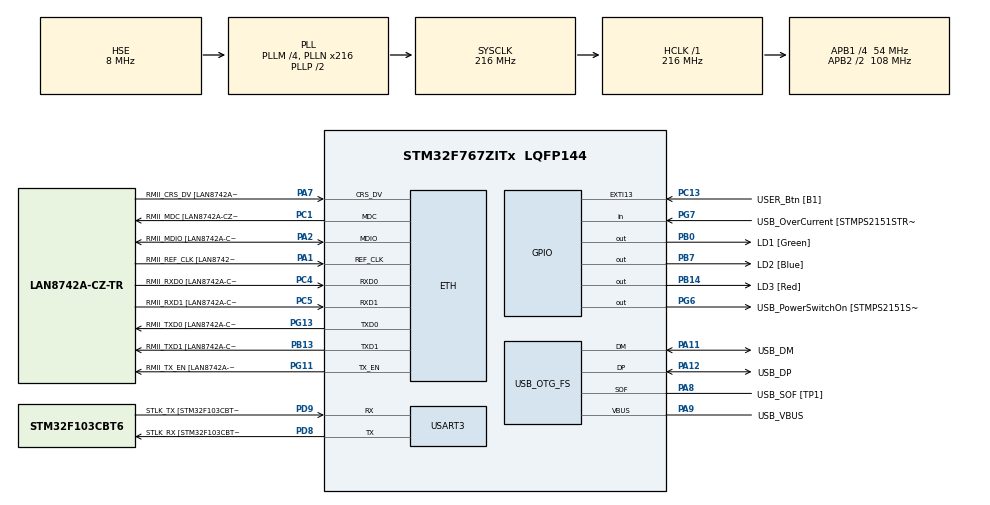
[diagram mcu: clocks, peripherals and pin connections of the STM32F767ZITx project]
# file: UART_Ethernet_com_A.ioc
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ETH.MediaInterface=HAL_ETH_RMII_MODE
ETH.PHY_Name=LAN8742A_PHY_ADDRESS
ETH.PHY_Value=0
ETH.PhyAddress=0
LWIP.BSP.number=1
LWIP.IP_ADDRESS=192.168.010.010
LWIP.LWIP_DHCP=0
LWIP.NETMASK_ADDRESS=255.255.255.000
LWIP.Version=v2.1.2_Cube
LWIP0.BSP.STBoard=false
LWIP0.BSP.api=BSP_COMPONENT_DRIVER
LWIP0.BSP.component=LAN8742
LWIP0.BSP.instance=LAN8742
LWIP0.BSP.name=Driver_PHY
LWIP0.BSP.semaphore=S_LAN8742
LWIP0.BSP.solution=LAN8742
Mcu.Family=STM32F7
Mcu.Name=STM32F767ZITx
Mcu.Package=LQFP144
NVIC.PriorityGroup=NVIC_PRIORITYGROUP_4
PA1.GPIO_Label=RMII_REF_CLK [LAN8742A-CZ-TR_REFCLK0]
PA1.Mode=RMII
PA1.Signal=ETH_REF_CLK
PA10.GPIO_Label=USB_ID
PA10.Signal=USB_OTG_FS_ID
PA11.GPIO_Label=USB_DM
PA11.Mode=Device_Only
PA11.Signal=USB_OTG_FS_DM
PA12.GPIO_Label=USB_DP
PA12.Mode=Device_Only
PA12.Signal=USB_OTG_FS_DP
PA13.GPIO_Label=TMS
PA13.Mode=Serial_Wire
PA13.Signal=SYS_JTMS-SWDIO
PA14.GPIO_Label=TCK
PA14.Mode=Serial_Wire
PA14.Signal=SYS_JTCK-SWCLK
PA2.GPIO_Label=RMII_MDIO [LAN8742A-CZ-TR_MDIO]
PA2.Mode=RMII
PA2.Signal=ETH_MDIO
PA7.GPIO_Label=RMII_CRS_DV [LAN8742A-CZ-TR_CRS_DV]
PA7.Mode=RMII
PA7.Signal=ETH_CRS_DV
PA8.GPIO_Label=USB_SOF [TP1]
PA8.Mode=Activate_SOF_FS
PA8.Signal=USB_OTG_FS_SOF
PA9.GPIO_Label=USB_VBUS
PA9.Mode=Activate_VBUS
PA9.Signal=USB_OTG_FS_VBUS
PB0.GPIO_Label=LD1 [Green]
PB0.Signal=GPIO_Output
PB13.GPIO_Label=RMII_TXD1 [LAN8742A-CZ-TR_TXD1]
PB13.Mode=RMII
PB13.Signal=ETH_TXD1
PB14.GPIO_Label=LD3 [Red]
PB14.Signal=GPIO_Output
PB3.GPIO_Label=SWO
PB3.Signal=SYS_JTDO-SWO
PB7.GPIO_Label=LD2 [Blue]
PB7.Signal=GPIO_Output
PC1.GPIO_Label=RMII_MDC [LAN8742A-CZ-TR_MDC]
PC1.Mode=RMII
PC1.Signal=ETH_MDC
PC13.GPIO_Label=USER_Btn [B1]
PC13.Signal=GPXTI13
PC14/OSC32_IN.Mode=LSE-External-Oscillator
PC14/OSC32_IN.Signal=RCC_OSC32_IN
PC15/OSC32_OUT.Mode=LSE-External-Oscillator
PC15/OSC32_OUT.Signal=RCC_OSC32_OUT
PC4.GPIO_Label=RMII_RXD0 [LAN8742A-CZ-TR_RXD0]
PC4.Mode=RMII
PC4.Signal=ETH_RXD0
PC5.GPIO_Label=RMII_RXD1 [LAN8742A-CZ-TR_RXD1]
PC5.Mode=RMII
PC5.Signal=ETH_RXD1
PD8.GPIO_Label=STLK_RX [STM32F103CBT6_PA3]
PD8.Mode=Asynchronous
PD8.Signal=USART3_TX
PD9.GPIO_Label=STLK_TX [STM32F103CBT6_PA2]
PD9.Mode=Asynchronous
PD9.Signal=USART3_RX
PG11.GPIO_Label=RMII_TX_EN [LAN8742A-CZ-TR_TXEN]
PG11.Mode=RMII
PG11.Signal=ETH_TX_EN
PG13.GPIO_Label=RMII_TXD0 [LAN8742A-CZ-TR_TXD0]
PG13.Mode=RMII
PG13.Signal=ETH_TXD0
PG6.GPIO_Label=USB_PowerSwitchOn [STMPS2151STR_EN]
PG6.Signal=GPIO_Output
PG7.GPIO_Label=USB_OverCurrent [STMPS2151STR_FAULT]
PG7.Signal=GPIO_Input
PH0/OSC_IN.GPIO_Label=MCO [STM32F103CBT6_PA8]
PH0/OSC_IN.Mode=HSE-External-Clock-Source
PH0/OSC_IN.Signal=RCC_OSC_IN
PH1/OSC_OUT.Mode=HSE-External-Clock-Source
PH1/OSC_OUT.Signal=RCC_OSC_OUT
ProjectManager.HeapSize=0x200
ProjectManager.StackSize=0x400
ProjectManager.TargetToolchain=STM32CubeIDE
RCC.48MHZClocksFreq_Value=24000000
RCC.AHBFreq_Value=216000000
RCC.APB1CLKDivider=RCC_HCLK_DIV4
RCC.APB1Freq_Value=54000000
RCC.APB1TimFreq_Value=108000000
RCC.APB2CLKDivider=RCC_HCLK_DIV2
RCC.APB2Freq_Value=108000000
RCC.APB2TimFreq_Value=216000000
RCC.CortexFreq_Value=216000000
RCC.HCLKFreq_Value=216000000
RCC.HSE_VALUE=8000000
RCC.HSI_VALUE=16000000
RCC.PLLM=4
RCC.PLLMUL=RCC_PLL_MUL9
RCC.PLLN=216
RCC.PLLQ=9
RCC.PRESCALERUSB=RCC_USBCLKSOURCE_PLL_DIV1_5
RCC.SYSCLKFreq_VALUE=216000000
RCC.SYSCLKSource=RCC_SYSCLKSOURCE_PLLCLK
RCC.SYSCLKSourceVirtual=RCC_SYSCLKSOURCE_PLLCLK
RCC.USBFreq_Value=48000000
RCC.VCOOutputFreq_Value=432000000
USART3.VirtualMode-Asynchronous=VM_ASYNC
USB_OTG_FS.VirtualMode=Device_Only
VP_LWIP_VS_Enabled.Mode=Enabled
board=NUCLEO-F767ZI

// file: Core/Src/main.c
/* USER CODE BEGIN Header */
/**
  ******************************************************************************
  * @file           : main.c
  * @brief          : Main program body
  ******************************************************************************
  * @attention
  *
  * Copyright (c) 2025 STMicroelectronics.
  * All rights reserved.
  *
  * This software is licensed under terms that can be found in the LICENSE file
  * in the root directory of this software component.
  * If no LICENSE file comes with this software, it is provided AS-IS.
  *
  ******************************************************************************
  */
/* USER CODE END Header */
#include "main.h"
#include "lwip.h"

/* USER CODE BEGIN Includes */
#include <string.h>
#include "lwip/udp.h"
#include "lwip/pbuf.h"
#include "lwip/ip_addr.h"
/* USER CODE END Includes */

UART_HandleTypeDef huart3;

PCD_HandleTypeDef hpcd_USB_OTG_FS;

/* USER CODE BEGIN PV */
static struct udp_pcb *g_upcb;
static ip4_addr_t g_peer_ip;

#define UDP_PORT 5000
#define UART_RX_BUF_SZ 256

static uint8_t uart_ch;
static char uart_line[UART_RX_BUF_SZ];
static uint16_t uart_len = 0;
/* USER CODE END PV */

void SystemClock_Config(void);
static void MX_GPIO_Init(void);
static void MX_USART3_UART_Init(void);
static void MX_USB_OTG_FS_PCD_Init(void);

/* USER CODE BEGIN 0 */
static void udp_rx_cb(void *arg, struct udp_pcb *pcb, struct pbuf *p,
                      const ip_addr_t *addr, u16_t port)
{
  (void)arg; (void)pcb; (void)addr; (void)port;
  if (p == NULL) return;

  // Вывести payload в UART
  HAL_UART_Transmit(&huart3, (uint8_t*)p->payload, p->len, HAL_MAX_DELAY);
  HAL_UART_Transmit(&huart3, (uint8_t*)"\r\n", 2, HAL_MAX_DELAY);
  pbuf_free(p);
}

static void udp_bridge_init(void)
{
  g_upcb = udp_new();
  if (g_upcb == NULL) {
    const char *msg = "udp_new() failed\r\n";
    HAL_UART_Transmit(&huart3, (uint8_t*)msg, strlen(msg), HAL_MAX_DELAY);
    return;
  }

  // Слушаем UDP_PORT на своем IP (any)
  err_t e = udp_bind(g_upcb, IP_ADDR_ANY, UDP_PORT);
  if (e != ERR_OK) {
    const char *msg = "udp_bind() failed\r\n";
    HAL_UART_Transmit(&huart3, (uint8_t*)msg, strlen(msg), HAL_MAX_DELAY);
  }

  udp_recv(g_upcb, udp_rx_cb, NULL);

  // Board A = 192.168.10.10
  // Board B = 192.168.10.11
  IP4_ADDR(&g_peer_ip, 192, 168, 10, 11);   // board A -> board B
  //IP4_ADDR(&g_peer_ip, 192, 168, 10, 10);   // board B -> board A

  const char *msg = "UDP bridge ready\r\n";
  HAL_UART_Transmit(&huart3, (uint8_t*)msg, strlen(msg), HAL_MAX_DELAY);
}

static void udp_send_buf(const void *buf, uint16_t len)
{
  if (!g_upcb || len == 0) return;

  struct pbuf *p = pbuf_alloc(PBUF_TRANSPORT, len, PBUF_RAM);
  if (!p) return;

  memcpy(p->payload, buf, len);
  udp_sendto(g_upcb, p, (const ip_addr_t *)&g_peer_ip, UDP_PORT);
  pbuf_free(p);
}

/* USER CODE END 0 */

int main(void)
{

  /* MCU Configuration--------------------------------------------------------*/

  /* Reset of all peripherals, Initializes the Flash interface and the Systick. */
  HAL_Init();

  /* Configure the system clock */
  SystemClock_Config();

  /* Initialize all configured peripherals */
  MX_GPIO_Init();
  MX_USART3_UART_Init();
  MX_USB_OTG_FS_PCD_Init();
  MX_LWIP_Init();
  /* USER CODE BEGIN 2 */
  udp_bridge_init();
  /* USER CODE END 2 */

  /* Infinite loop */
  /* USER CODE BEGIN WHILE */
  while (1)
  {
//AAAAAAAAAAAAAAA
	  MX_LWIP_Process();

	    if (HAL_UART_Receive(&huart3, &uart_ch, 1, 0) == HAL_OK)
	    {
	      HAL_UART_Transmit(&huart3, &uart_ch, 1, HAL_MAX_DELAY); // echo

	      if (uart_ch == '\r' || uart_ch == '\n')
	      {
	        if (uart_len > 0)
	        {
	          HAL_UART_Transmit(&huart3, (uint8_t*)"\r\n", 2, HAL_MAX_DELAY);

	          if (uart_len < UART_RX_BUF_SZ - 2)
	          {
	            uart_line[uart_len++] = '\r';
	            uart_line[uart_len++] = '\n';
	          }

	          udp_send_buf(uart_line, uart_len);
	          uart_len = 0;
	        }
	      }
	      else
	      {
	        if (uart_len < UART_RX_BUF_SZ - 1)
	        {
	          uart_line[uart_len++] = (char)uart_ch;
	        }
	        else
	        {
	          uart_len = 0;
	        }
	      }
	    }
    /* USER CODE END WHILE */

  }
}

void SystemClock_Config(void)
{
  RCC_OscInitTypeDef RCC_OscInitStruct = {0};
  RCC_ClkInitTypeDef RCC_ClkInitStruct = {0};

  /** Configure LSE Drive Capability
  */
  HAL_PWR_EnableBkUpAccess();

  /** Configure the main internal regulator output voltage
  */
  __HAL_RCC_PWR_CLK_ENABLE();
  __HAL_PWR_VOLTAGESCALING_CONFIG(PWR_REGULATOR_VOLTAGE_SCALE1);

  /** Initializes the RCC Oscillators according to the specified parameters
  * in the RCC_OscInitTypeDef structure.
  */
  RCC_OscInitStruct.OscillatorType = RCC_OSCILLATORTYPE_HSE;
  RCC_OscInitStruct.HSEState = RCC_HSE_BYPASS;
  RCC_OscInitStruct.PLL.PLLState = RCC_PLL_ON;
  RCC_OscInitStruct.PLL.PLLSource = RCC_PLLSOURCE_HSE;
  RCC_OscInitStruct.PLL.PLLM = 4;
  RCC_OscInitStruct.PLL.PLLN = 216;
  RCC_OscInitStruct.PLL.PLLP = RCC_PLLP_DIV2;
  RCC_OscInitStruct.PLL.PLLQ = 9;
  RCC_OscInitStruct.PLL.PLLR = 2;
  if (HAL_RCC_OscConfig(&RCC_OscInitStruct) != HAL_OK)
  {
    Error_Handler();
  }

  /** Activate the Over-Drive mode
  */
  if (HAL_PWREx_EnableOverDrive() != HAL_OK)
  {
    Error_Handler();
  }

  /** Initializes the CPU, AHB and APB buses clocks
  */
  RCC_ClkInitStruct.ClockType = RCC_CLOCKTYPE_HCLK|RCC_CLOCKTYPE_SYSCLK
                              |RCC_CLOCKTYPE_PCLK1|RCC_CLOCKTYPE_PCLK2;
  RCC_ClkInitStruct.SYSCLKSource = RCC_SYSCLKSOURCE_PLLCLK;
  RCC_ClkInitStruct.AHBCLKDivider = RCC_SYSCLK_DIV1;
  RCC_ClkInitStruct.APB1CLKDivider = RCC_HCLK_DIV4;
  RCC_ClkInitStruct.APB2CLKDivider = RCC_HCLK_DIV2;

  if (HAL_RCC_ClockConfig(&RCC_ClkInitStruct, FLASH_LATENCY_7) != HAL_OK)
  {
    Error_Handler();
  }
}

static void MX_USART3_UART_Init(void)
{

  huart3.Instance = USART3;
  huart3.Init.BaudRate = 115200;
  huart3.Init.WordLength = UART_WORDLENGTH_8B;
  huart3.Init.StopBits = UART_STOPBITS_1;
  huart3.Init.Parity = UART_PARITY_NONE;
  huart3.Init.Mode = UART_MODE_TX_RX;
  huart3.Init.HwFlowCtl = UART_HWCONTROL_NONE;
  huart3.Init.OverSampling = UART_OVERSAMPLING_16;
  huart3.Init.OneBitSampling = UART_ONE_BIT_SAMPLE_DISABLE;
  huart3.AdvancedInit.AdvFeatureInit = UART_ADVFEATURE_NO_INIT;
  if (HAL_UART_Init(&huart3) != HAL_OK)
  {
    Error_Handler();
  }

}

static void MX_USB_OTG_FS_PCD_Init(void)
{

  hpcd_USB_OTG_FS.Instance = USB_OTG_FS;
  hpcd_USB_OTG_FS.Init.dev_endpoints = 6;
  hpcd_USB_OTG_FS.Init.speed = PCD_SPEED_FULL;
  hpcd_USB_OTG_FS.Init.dma_enable = DISABLE;
  hpcd_USB_OTG_FS.Init.phy_itface = PCD_PHY_EMBEDDED;
  hpcd_USB_OTG_FS.Init.Sof_enable = ENABLE;
  hpcd_USB_OTG_FS.Init.low_power_enable = DISABLE;
  hpcd_USB_OTG_FS.Init.lpm_enable = DISABLE;
  hpcd_USB_OTG_FS.Init.vbus_sensing_enable = ENABLE;
  hpcd_USB_OTG_FS.Init.use_dedicated_ep1 = DISABLE;
  if (HAL_PCD_Init(&hpcd_USB_OTG_FS) != HAL_OK)
  {
    Error_Handler();
  }

}

static void MX_GPIO_Init(void)
{
  GPIO_InitTypeDef GPIO_InitStruct = {0};

  /* GPIO Ports Clock Enable */
  __HAL_RCC_GPIOC_CLK_ENABLE();
  __HAL_RCC_GPIOH_CLK_ENABLE();
  __HAL_RCC_GPIOA_CLK_ENABLE();
  __HAL_RCC_GPIOB_CLK_ENABLE();
  __HAL_RCC_GPIOD_CLK_ENABLE();
  __HAL_RCC_GPIOG_CLK_ENABLE();

  /*Configure GPIO pin Output Level */
  HAL_GPIO_WritePin(GPIOB, LD1_Pin|LD3_Pin|LD2_Pin, GPIO_PIN_RESET);

  /*Configure GPIO pin Output Level */
  HAL_GPIO_WritePin(USB_PowerSwitchOn_GPIO_Port, USB_PowerSwitchOn_Pin, GPIO_PIN_RESET);

  /*Configure GPIO pin : USER_Btn_Pin */
  GPIO_InitStruct.Pin = USER_Btn_Pin;
  GPIO_InitStruct.Mode = GPIO_MODE_IT_RISING;
  GPIO_InitStruct.Pull = GPIO_NOPULL;
  HAL_GPIO_Init(USER_Btn_GPIO_Port, &GPIO_InitStruct);

  /*Configure GPIO pins : LD1_Pin LD3_Pin LD2_Pin */
  GPIO_InitStruct.Pin = LD1_Pin|LD3_Pin|LD2_Pin;
  GPIO_InitStruct.Mode = GPIO_MODE_OUTPUT_PP;
  GPIO_InitStruct.Pull = GPIO_NOPULL;
  GPIO_InitStruct.Speed = GPIO_SPEED_FREQ_LOW;
  HAL_GPIO_Init(GPIOB, &GPIO_InitStruct);

  /*Configure GPIO pin : USB_PowerSwitchOn_Pin */
  GPIO_InitStruct.Pin = USB_PowerSwitchOn_Pin;
  GPIO_InitStruct.Mode = GPIO_MODE_OUTPUT_PP;
  GPIO_InitStruct.Pull = GPIO_NOPULL;
  GPIO_InitStruct.Speed = GPIO_SPEED_FREQ_LOW;
  HAL_GPIO_Init(USB_PowerSwitchOn_GPIO_Port, &GPIO_InitStruct);

  /*Configure GPIO pin : USB_OverCurrent_Pin */
  GPIO_InitStruct.Pin = USB_OverCurrent_Pin;
  GPIO_InitStruct.Mode = GPIO_MODE_INPUT;
  GPIO_InitStruct.Pull = GPIO_NOPULL;
  HAL_GPIO_Init(USB_OverCurrent_GPIO_Port, &GPIO_InitStruct);

}

void Error_Handler(void)
{
  __disable_irq();
  while (1)
  {
  }
}
